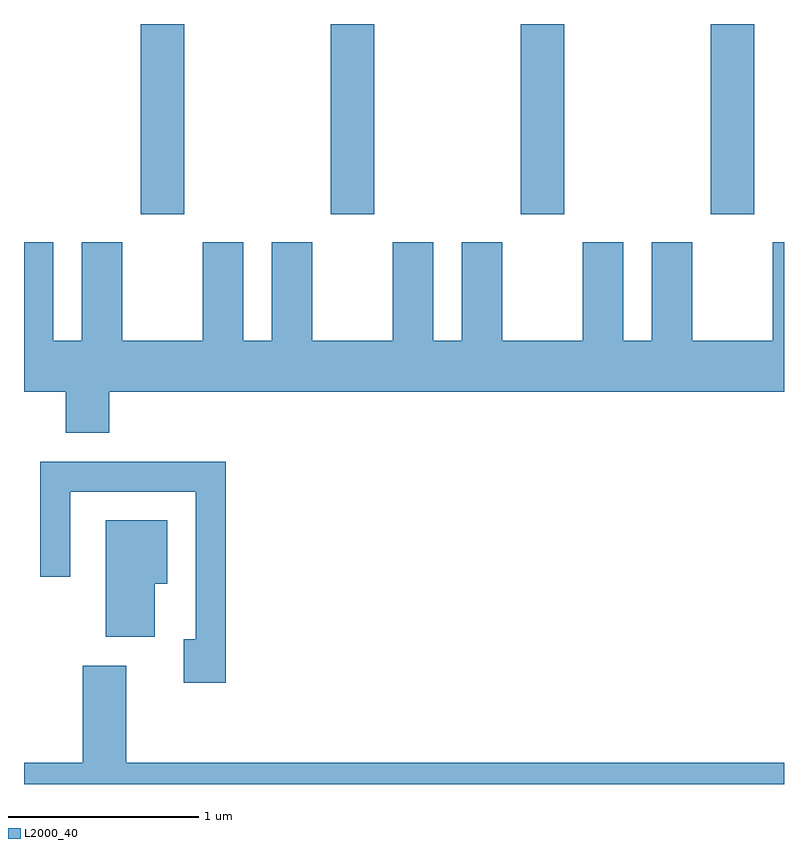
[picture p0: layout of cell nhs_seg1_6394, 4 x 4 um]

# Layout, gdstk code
import gdstk
lib = gdstk.Library(unit=1e-6, precision=1e-09)
def R(c, l, rs):  # rectangles x0, y0, x1, y1
    for r in rs: c.add(gdstk.rectangle(r[:2], r[2:], *l))
def A(c, l, x, y, w, h, nx, ny, dx, dy):  # array of equal rectangles
    R(c, l, [(x+i*dx, y+j*dy, x+i*dx+w, y+j*dy+h) for i in range(nx) for j in range(ny)])
def P(c, l, *ps):  # polygons
    for p in ps: c.add(gdstk.Polygon(p, *l))
L2000_40 = (2000, 40)

nhs_seg1_6394 = lib.new_cell('nhs_seg1_6394')
A(nhs_seg1_6394, L2000_40, 378.226, 922.711, 0.228, 1.001, 4, 1, 1, 0)
P(nhs_seg1_6394, L2000_40, [(381.611,922.564),(381.551,922.564),(381.551,922.044),(381.129,922.044),(381.129,922.564),(380.916,922.564),(380.916,922.044),(380.764,922.044),(380.764,922.564),(380.551,922.564),(380.551,922.044),(380.129,922.044),(380.129,922.564),(379.916,922.564),(379.916,922.044),(379.764,922.044),(379.764,922.564),(379.551,922.564),(379.551,922.044),(379.129,922.044),(379.129,922.564),(378.916,922.564),(378.916,922.044),(378.764,922.044),(378.764,922.564),(378.551,922.564),(378.551,922.044),(378.129,922.044),(378.129,922.564),(377.916,922.564),(377.916,922.044),(377.764,922.044),(377.764,922.564),(377.611,922.564),(377.611,921.776),(377.831,921.776),(377.831,921.561),(378.059,921.561),(378.059,921.776),(381.611,921.776)],
  [(378.674,921.409),(377.696,921.409),(377.696,920.803),(377.854,920.803),(377.854,921.251),(378.516,921.251),(378.516,920.474),(378.451,920.474),(378.451,920.246),(378.674,920.246)],
  [(378.299,920.766),(378.364,920.766),(378.364,921.099),(378.041,921.099),(378.041,920.486),(378.299,920.486)],
  [(381.611,919.824),(378.149,919.824),(378.149,920.334),(377.921,920.334),(377.921,919.824),(377.611,919.824),(377.611,919.712),(381.611,919.712)])

lib.write_gds('nhs_seg1_6394.gds')
